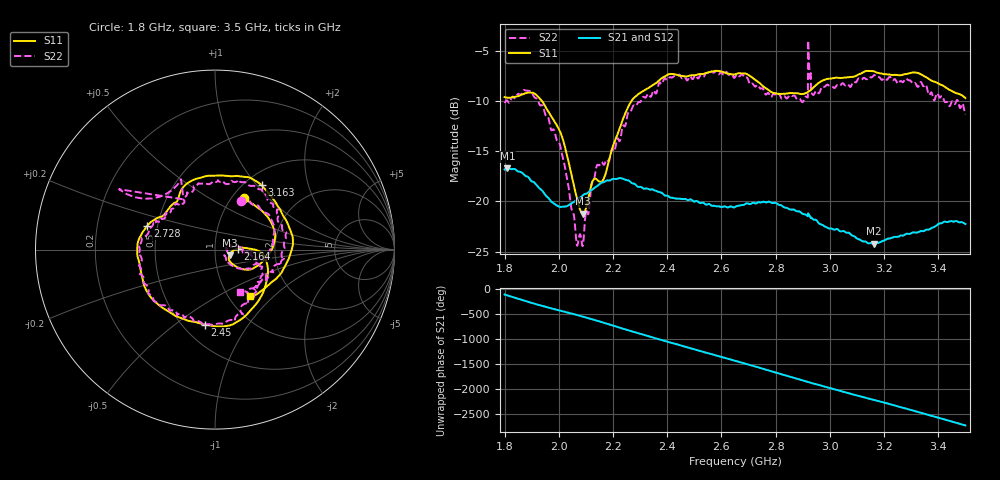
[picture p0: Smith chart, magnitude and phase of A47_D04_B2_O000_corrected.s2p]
! Created with skrf 1.9.0 (http://scikit-rf.org).
# Hz S RI R 50.0
!freq ReS11 ImS11 ReS21 ImS21 ReS12 ImS12 ReS22 ImS22
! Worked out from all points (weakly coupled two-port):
!   1601 points, 1.8 GHz to 3.5 GHz, reference 50 ohm
!   highest |S21| = -16.73 dB at 1.811 GHz (marker M1); lowest = -24.2 dB at 3.162 GHz (marker M2)
!   lowest |S11| = -21.2 dB at 2.09 GHz (marker M3), VSWR 1.19, Z = 58.7 - j3.7 ohm
!   |S11| at or under -10 dB: 1.938 GHz to 2.268 GHz (330.8 MHz wide, 15.7 % of centre)
!   |S22| runs from -24.5 to -4.0 dB; largest |S21 - S12| = 0.0022
!   S11 on the Smith chart (normalised r, x): 1.8 GHz: 1.13, +0.73; 2.164 GHz: 1.30, +0.02; 2.45 GHz: 0.64, -0.65; 2.728 GHz: 0.44, +0.14; 3.163 GHz: 1.19, +1.06; 3.5 GHz: 1.26, -0.73
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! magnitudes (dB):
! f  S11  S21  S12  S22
! 1.8 GHz  -9.6  -16.8  -16.8  -10.2
! 1.811 GHz  -9.7  -16.7  -16.7  -10.0
! 1.881 GHz  -9.2  -17.5  -17.5  -9.0
! 1.941 GHz  -10.1  -19.0  -19.0  -10.5
! 2.006 GHz  -13.2  -20.6  -20.5  -14.6
! 2.065 GHz  -19.5  -19.8  -19.8  -24.0
! 2.084 GHz  -21.1  -19.5  -19.5  -23.9
! 2.09 GHz  -21.2  -19.4  -19.4  -24.2
! 2.129 GHz  -17.8  -18.7  -18.7  -17.9
! 2.164 GHz  -17.8  -18.1  -18.0  -16.3
! 2.263 GHz  -10.2  -18.0  -18.0  -11.1
! 2.367 GHz  -8.0  -19.0  -19.0  -8.4
! 2.45 GHz  -7.5  -19.8  -19.7  -7.6
! 2.65 GHz  -7.4  -20.6  -20.5  -7.7
! 2.728 GHz  -8.0  -20.2  -20.2  -8.5
! 2.897 GHz  -9.3  -21.2  -21.2  -10.1
! 2.921 GHz  -9.1  -21.2  -21.2  -4.7
! 2.934 GHz  -8.8  -21.7  -21.7  -9.3
! 3.162 GHz  -7.1  -24.2  -24.2  -7.5
! 3.163 GHz  -7.1  -24.2  -24.2  -7.4
! 3.217 GHz  -7.4  -23.7  -23.7  -7.7
! 3.5 GHz  -9.7  -22.3  -22.2  -11.3
